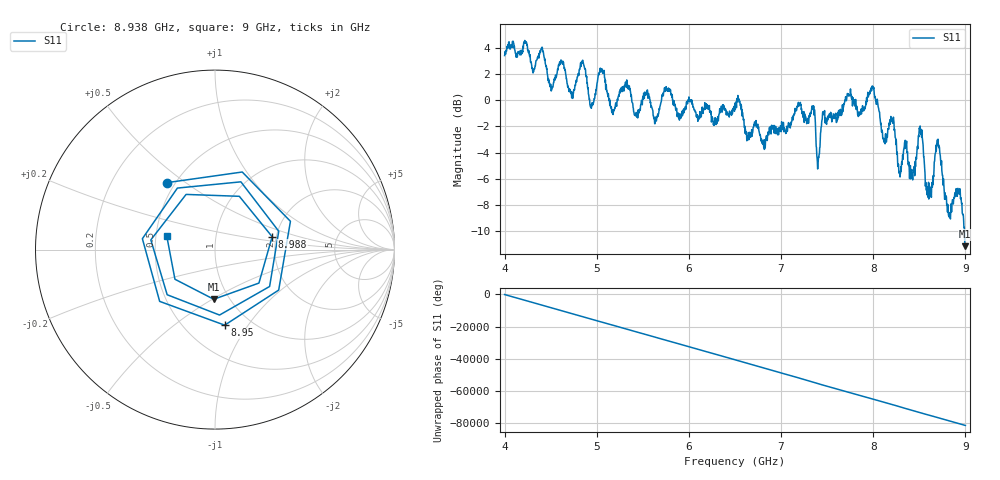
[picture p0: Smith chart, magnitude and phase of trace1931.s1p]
! Created with skrf 1.8.0 (http://scikit-rf.org).
# Hz S RI R 50.0
!freq ReS11 ImS11
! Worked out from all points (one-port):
!   1601 points, 4 GHz to 9 GHz, reference 50 ohm
!   lowest |S11| = -11.2 dB at 8.994 GHz (marker M1), VSWR 1.77, Z = 42.3 - j25.4 ohm
!   |S11| at or under -10 dB: 8.989615 GHz to end of sweep
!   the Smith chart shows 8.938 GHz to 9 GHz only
!   S11 on the Smith chart (normalised r, x): 8.938 GHz: 0.45, +0.43; 8.95 GHz: 0.76, -0.79; 8.988 GHz: 1.90, +0.31; 9 GHz: 0.57, +0.09
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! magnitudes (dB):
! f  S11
! 4 GHz  3.4
! 4.625 GHz  2.8
! 4.85 GHz  2.8
! 4.944 GHz  -0.5
! 5.053 GHz  2.4
! 5.25 GHz  0.5
! 5.875 GHz  -1.1
! 6.5 GHz  -0.2
! 6.806 GHz  -3.3
! 7.125 GHz  -1.4
! 7.344 GHz  -0.5
! 7.403 GHz  -4.6
! 7.459 GHz  -1.1
! 7.75 GHz  0.4
! 7.991 GHz  0.9
! 8.122 GHz  -3.1
! 8.216 GHz  -1.5
! 8.281 GHz  -5.4
! 8.375 GHz  -4.7
! 8.512 GHz  -2.5
! 8.6 GHz  -6.3
! 8.7 GHz  -3.5
! 8.819 GHz  -8.8
! 8.938 GHz  -6.8
! 8.95 GHz  -7.4
! 8.988 GHz  -9.7
! 8.994 GHz  -11.2
! 9 GHz  -11.1
